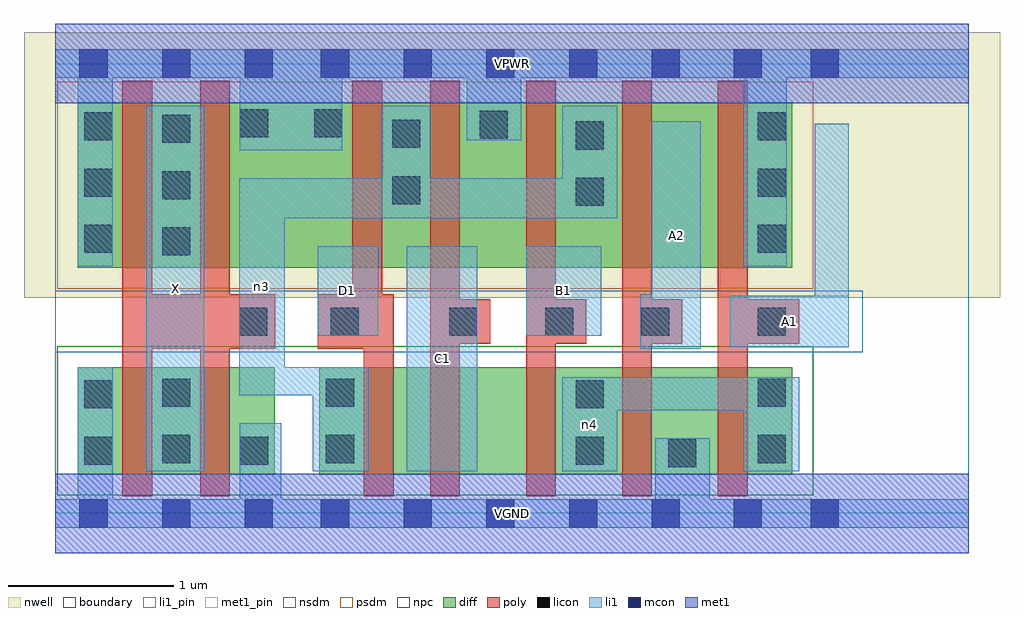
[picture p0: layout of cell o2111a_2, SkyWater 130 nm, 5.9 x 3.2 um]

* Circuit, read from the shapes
.subckt o2111a_2 A1 A2 B1 C1 D1 VGND VPWR X n3 n4
XM1 X n3 VGND VSUBS sky130_fd_pr__nfet_01v8 w=0.65 l=0.18 m=2
XM2 n1 D1 n3 VSUBS sky130_fd_pr__nfet_01v8 w=0.65 l=0.18
XM3 n2 C1 n1 VSUBS sky130_fd_pr__nfet_01v8 w=0.65 l=0.18
XM4 n4 B1 n2 VSUBS sky130_fd_pr__nfet_01v8 w=0.65 l=0.18
XM5 VGND A2 n4 VSUBS sky130_fd_pr__nfet_01v8 w=0.65 l=0.18
XM6 n4 A1 VGND VSUBS sky130_fd_pr__nfet_01v8 w=0.65 l=0.18
XM7 X n3 VPWR n5 sky130_fd_pr__pfet_01v8 w=1 l=0.18 m=2
XM8 n3 D1 VPWR n5 sky130_fd_pr__pfet_01v8 w=1 l=0.18
XM9 VPWR C1 n3 n5 sky130_fd_pr__pfet_01v8 w=1 l=0.18
XM10 n3 B1 VPWR n5 sky130_fd_pr__pfet_01v8 w=1 l=0.18
XM11 n6 A2 n3 n5 sky130_fd_pr__pfet_01v8 w=1 l=0.18
XM12 VPWR A1 n6 n5 sky130_fd_pr__pfet_01v8 w=1 l=0.18
.ends

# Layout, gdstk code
import gdstk
lib = gdstk.Library(unit=1e-6, precision=1e-09)
def R(c, l, rs):  # rectangles x0, y0, x1, y1
    for r in rs: c.add(gdstk.rectangle(r[:2], r[2:], *l))
def A(c, l, x, y, w, h, nx, ny, dx, dy):  # array of equal rectangles
    R(c, l, [(x+i*dx, y+j*dy, x+i*dx+w, y+j*dy+h) for i in range(nx) for j in range(ny)])
nwell = (64, 20)
diff = (65, 20)
poly = (66, 20)
licon = (66, 44)
li1_pin = (67, 16)
li1 = (67, 20)
mcon = (67, 44)
met1_pin = (68, 16)
met1 = (68, 20)
nsdm = (93, 44)
psdm = (94, 20)
npc = (95, 20)
boundary = (235, 4)

o2111a_2 = lib.new_cell('o2111a_2')
R(o2111a_2, nwell, [(-0.19,1.305,5.71,2.91), (0,1.305,5.52,2.91)])
R(o2111a_2, diff, [(0.135,0.235,1.325,0.885), (1.595,0.235,4.455,0.885), (0.135,1.485,4.455,2.485)])
A(o2111a_2, poly, 2.265, 0.105, 0.18, 2.51, 4, 1, 0.58, 0)
A(o2111a_2, poly, 2.265, 1.025, 0.365, 0.27, 3, 1, 0.58, 0)
R(o2111a_2, poly, [(0.405,0.105,0.585,2.615), (0.875,0.105,1.055,2.615), (1.865,0.105,2.045,1.325), (0.405,0.995,1.33,1.325), (1.585,0.995,2.045,1.325), (1.795,0.995,1.975,2.615), (4.005,1.025,4.495,1.295)])
A(o2111a_2, licon, 2.38, 1.075, 0.17, 0.17, 3, 1, 0.58, 0)
A(o2111a_2, licon, 0.645, 1.56, 0.17, 0.17, 1, 3, 0, 0.34)
A(o2111a_2, licon, 0.175, 1.575, 0.17, 0.17, 1, 3, 0, 0.34)
A(o2111a_2, licon, 4.245, 1.575, 0.17, 0.17, 1, 3, 0, 0.34)
R(o2111a_2, licon, [(3.705,0.28,3.875,0.45), (0.175,0.295,0.345,0.465), (1.115,0.295,1.285,0.465), (3.145,0.295,3.315,0.465), (0.645,0.305,0.815,0.475), (1.635,0.305,1.805,0.475), (4.245,0.305,4.415,0.475), (0.175,0.635,0.345,0.805), (3.145,0.635,3.315,0.805), (0.645,0.645,0.815,0.815), (1.635,0.645,1.805,0.815), (4.245,0.645,4.415,0.815), (1.11,1.075,1.28,1.245), (1.665,1.075,1.835,1.245), (4.245,1.075,4.415,1.245), (3.145,1.86,3.315,2.03), (2.035,1.87,2.205,2.04), (3.145,2.2,3.315,2.37), (2.035,2.21,2.205,2.38), (2.565,2.265,2.735,2.435), (1.115,2.275,1.285,2.445), (1.565,2.275,1.735,2.445)])
R(o2111a_2, li1_pin, [(0.55,0.255,0.9,2.465), (2.125,0.255,2.55,1.615), (3.605,0.995,3.9,2.37), (4.075,1.005,4.795,1.315), (1.585,1.075,1.95,1.615), (2.845,1.075,3.3,1.615)])
R(o2111a_2, li1, [(0,-0.085,5.52,0.085), (0.135,-0.085,0.345,0.885), (1.115,-0.085,1.365,0.545), (3.625,-0.085,3.955,0.455), (0.55,0.255,0.9,2.465), (1.555,0.255,1.89,0.885), (2.125,0.255,2.55,1.615), (3.065,0.255,3.395,0.825), (4.16,0.255,4.495,0.825), (3.065,0.625,4.495,0.825), (1.11,0.715,1.385,2.025), (1.11,0.715,1.89,0.885), (3.535,0.995,3.9,1.325), (3.605,0.995,3.9,2.37), (4.075,1.005,4.795,1.315), (4.59,1.005,4.795,2.355), (1.585,1.075,1.95,1.615), (2.845,1.075,3.3,1.615), (0.135,1.495,0.345,2.805), (4.16,1.495,4.42,2.805), (1.11,1.785,3.395,2.025), (1.975,1.785,2.265,2.465), (3.065,1.785,3.395,2.465), (1.115,2.195,1.735,2.805), (2.485,2.255,2.815,2.805), (0,2.635,5.52,2.805)])
A(o2111a_2, mcon, 0.145, -0.085, 0.17, 0.17, 3, 2, 0.5, 2.72)
A(o2111a_2, mcon, 1.605, -0.085, 0.17, 0.17, 5, 2, 0.5, 2.72)
R(o2111a_2, mcon, [(4.1,-0.085,4.27,0.085), (4.565,-0.085,4.735,0.085), (4.1,2.635,4.27,2.805), (4.565,2.635,4.735,2.805)])
R(o2111a_2, met1_pin, [(0,-0.24,5.52,0.24), (0,2.48,5.52,2.96)])
R(o2111a_2, met1, [(0,-0.24,5.52,0.24), (0,2.48,5.52,2.96)])
R(o2111a_2, nsdm, [(0.01,0.11,4.58,1.01)])
R(o2111a_2, psdm, [(0.01,1.36,4.58,2.61)])
R(o2111a_2, npc, [(0,0.975,4.88,1.345)])
R(o2111a_2, boundary, [(0,0,5.52,2.72)])
o2111a_2.add(gdstk.Label('A1', (4.435,1.16), layer=67, texttype=5))
o2111a_2.add(gdstk.Label('A2', (3.752,1.682), layer=67, texttype=5))
o2111a_2.add(gdstk.Label('B1', (3.072,1.345), layer=67, texttype=5))
o2111a_2.add(gdstk.Label('C1', (2.337,0.935), layer=67, texttype=5))
o2111a_2.add(gdstk.Label('D1', (1.767,1.345), layer=67, texttype=5))
o2111a_2.add(gdstk.Label('X', (0.725,1.36), layer=67, texttype=5))
o2111a_2.add(gdstk.Label('n4', (3.23,0.54), layer=67, texttype=5))
o2111a_2.add(gdstk.Label('n3', (1.247,1.37), layer=67, texttype=5))
o2111a_2.add(gdstk.Label('VPWR', (2.76,2.72), layer=68, texttype=5))
o2111a_2.add(gdstk.Label('VGND', (2.76,0), layer=68, texttype=5))
o2111a_2.add(gdstk.Label('A1', (4.435,1.16), layer=67, texttype=16))
o2111a_2.add(gdstk.Label('A2', (3.752,1.682), layer=67, texttype=16))
o2111a_2.add(gdstk.Label('B1', (3.072,1.345), layer=67, texttype=16))
o2111a_2.add(gdstk.Label('C1', (2.337,0.935), layer=67, texttype=16))
o2111a_2.add(gdstk.Label('D1', (1.767,1.345), layer=67, texttype=16))
o2111a_2.add(gdstk.Label('X', (0.725,1.36), layer=67, texttype=16))
o2111a_2.add(gdstk.Label('VPWR', (2.76,2.72), layer=68, texttype=16))
o2111a_2.add(gdstk.Label('VGND', (2.76,0), layer=68, texttype=16))

lib.write_gds('o2111a_2.gds')
